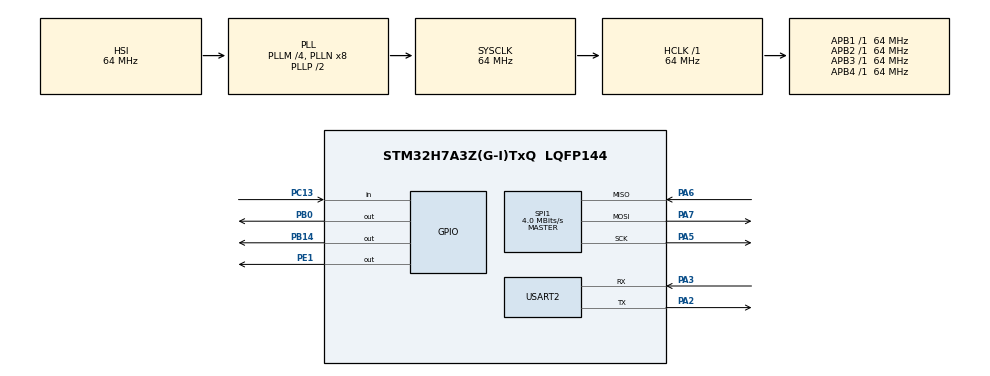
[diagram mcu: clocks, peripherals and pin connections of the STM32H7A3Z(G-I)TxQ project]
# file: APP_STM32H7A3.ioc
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CORTEX_M7.default_mode_Activation=1
Dma.Request0=SPI1_RX
Dma.Request1=SPI1_TX
Dma.SPI1_RX.0.Direction=DMA_PERIPH_TO_MEMORY
Dma.SPI1_RX.0.EventEnable=DISABLE
Dma.SPI1_RX.0.FIFOMode=DMA_FIFOMODE_DISABLE
Dma.SPI1_RX.0.Instance=DMA1_Stream0
Dma.SPI1_RX.0.MemDataAlignment=DMA_MDATAALIGN_BYTE
Dma.SPI1_RX.0.MemInc=DMA_MINC_ENABLE
Dma.SPI1_RX.0.Mode=DMA_NORMAL
Dma.SPI1_RX.0.PeriphDataAlignment=DMA_PDATAALIGN_BYTE
Dma.SPI1_RX.0.PeriphInc=DMA_PINC_DISABLE
Dma.SPI1_RX.0.Polarity=HAL_DMAMUX_REQ_GEN_RISING
Dma.SPI1_RX.0.Priority=DMA_PRIORITY_LOW
Dma.SPI1_RX.0.RequestNumber=1
Dma.SPI1_RX.0.SignalID=NONE
Dma.SPI1_RX.0.SyncEnable=DISABLE
Dma.SPI1_RX.0.SyncPolarity=HAL_DMAMUX_SYNC_NO_EVENT
Dma.SPI1_RX.0.SyncRequestNumber=1
Dma.SPI1_RX.0.SyncSignalID=NONE
Dma.SPI1_TX.1.Direction=DMA_MEMORY_TO_PERIPH
Dma.SPI1_TX.1.EventEnable=DISABLE
Dma.SPI1_TX.1.FIFOMode=DMA_FIFOMODE_DISABLE
Dma.SPI1_TX.1.Instance=DMA1_Stream1
Dma.SPI1_TX.1.MemDataAlignment=DMA_MDATAALIGN_BYTE
Dma.SPI1_TX.1.MemInc=DMA_MINC_ENABLE
Dma.SPI1_TX.1.Mode=DMA_NORMAL
Dma.SPI1_TX.1.PeriphDataAlignment=DMA_PDATAALIGN_BYTE
Dma.SPI1_TX.1.PeriphInc=DMA_PINC_DISABLE
Dma.SPI1_TX.1.Polarity=HAL_DMAMUX_REQ_GEN_RISING
Dma.SPI1_TX.1.Priority=DMA_PRIORITY_LOW
Dma.SPI1_TX.1.RequestNumber=1
Dma.SPI1_TX.1.SignalID=NONE
Dma.SPI1_TX.1.SyncEnable=DISABLE
Dma.SPI1_TX.1.SyncPolarity=HAL_DMAMUX_SYNC_NO_EVENT
Dma.SPI1_TX.1.SyncRequestNumber=1
Dma.SPI1_TX.1.SyncSignalID=NONE
Mcu.Family=STM32H7
Mcu.Name=STM32H7A3Z(G-I)TxQ
Mcu.Package=LQFP144
NUCLEO-H7A3ZI-Q.BUTTON=1
NUCLEO-H7A3ZI-Q.Bsp_Common_DEMO=true
NUCLEO-H7A3ZI-Q.LD1=true
NUCLEO-H7A3ZI-Q.LD2=true
NUCLEO-H7A3ZI-Q.LD3=true
NUCLEO-H7A3ZI-Q.VCP=true
NVIC.DMA1_Stream0_IRQn=true\:0\:0\:false\:false\:true\:false\:true\:true
NVIC.DMA1_Stream1_IRQn=true\:0\:0\:false\:false\:true\:false\:true\:true
NVIC.EXTI15_10_IRQn=true\:0\:0\:false\:false\:true\:false\:true\:true
NVIC.PriorityGroup=NVIC_PRIORITYGROUP_4
NVIC.SPI1_IRQn=true\:0\:0\:false\:false\:true\:true\:true\:true
NVIC.USART2_IRQn=true\:0\:0\:false\:false\:true\:true\:true\:true
PA2.Mode=Asynchronous
PA2.Signal=USART2_TX
PA3.Mode=Asynchronous
PA3.Signal=USART2_RX
PA5.Mode=Full_Duplex_Master
PA5.Signal=SPI1_SCK
PA6.Mode=Full_Duplex_Master
PA6.Signal=SPI1_MISO
PA7.Mode=Full_Duplex_Master
PA7.Signal=SPI1_MOSI
PB0.Signal=GPIO_Output
PB14.Signal=GPIO_Output
PC13.Signal=GPIO_Input
PC14-OSC32_IN.GPIO_Label=OSC32_IN
PC14-OSC32_IN.Mode=LSE-External-Oscillator
PC14-OSC32_IN.Signal=RCC_OSC32_IN
PC15-OSC32_OUT.GPIO_Label=OSC32_OUT
PC15-OSC32_OUT.Mode=LSE-External-Oscillator
PC15-OSC32_OUT.Signal=RCC_OSC32_OUT
PD8.Signal=USART3_TX
PD9.Signal=USART3_RX
PE1.Signal=GPIO_Output
PH0-OSC_IN.GPIO_Label=PH0-MCU
PH0-OSC_IN.Mode=HSE-External-Oscillator
PH0-OSC_IN.Signal=RCC_OSC_IN
PH1-OSC_OUT.GPIO_Label=PH1-MCU
PH1-OSC_OUT.Mode=HSE-External-Oscillator
PH1-OSC_OUT.Signal=RCC_OSC_OUT
ProjectManager.HeapSize=0x200
ProjectManager.StackSize=0x400
ProjectManager.TargetToolchain=STM32CubeIDE
RCC.ADCFreq_Value=129000000
RCC.APB1Freq_Value=64000000
RCC.APB2Freq_Value=64000000
RCC.APB3Freq_Value=64000000
RCC.APB4Freq_Value=64000000
RCC.CortexFreq_Value=64000000
RCC.DIVM1=4
RCC.DIVM3=1
RCC.DIVN1=8
RCC.DIVN3=24
RCC.DIVQ1=16
RCC.HCLKFreq_Value=64000000
RCC.HSE_VALUE=8000000
RCC.PLLFRACN=0
RCC.PWR_Regulator_Voltage_Scale=PWR_REGULATOR_VOLTAGE_SCALE0
RCC.SYSCLKFreq_VALUE=64000000
RCC.SYSCLKSource=RCC_SYSCLKSOURCE_PLLCLK
RCC.SupplySource=PWR_DIRECT_SMPS_SUPPLY
RCC.USBCLockSelection=RCC_USBCLKSOURCE_HSI48
RCC.USBFreq_Value=48000000
SPI1.CalculateBaudRate=4.0 MBits/s
SPI1.DataSize=SPI_DATASIZE_8BIT
SPI1.Direction=SPI_DIRECTION_2LINES
SPI1.Mode=SPI_MODE_MASTER
SPI1.VirtualType=VM_MASTER
USART2.VirtualMode-Asynchronous=VM_ASYNC
VP_MEMORYMAP_VS_MEMORYMAP.Mode=CurAppReg
VP_NUCLEO-H7A3ZI-Q_VS_BSP_COMMON.Mode=COMMON
board=NUCLEO-H7A3ZI-Q

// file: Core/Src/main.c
/* USER CODE BEGIN Header */
/**
  ******************************************************************************
  * @file           : main.c
  * @brief          : Main program body
  ******************************************************************************
  * @attention
  *
  * Copyright (c) 2025 STMicroelectronics.
  * All rights reserved.
  *
  * This software is licensed under terms that can be found in the LICENSE file
  * in the root directory of this software component.
  * If no LICENSE file comes with this software, it is provided AS-IS.
  *
  ******************************************************************************
  */
/* USER CODE END Header */
#include "main.h"

/* USER CODE BEGIN Includes */
#include "stdio.h"
#include "stm32h7xx.h"
#include <string.h>
#include <stdlib.h>
#include <stdint.h>
#include <inttypes.h>
/* USER CODE END Includes */

/* USER CODE BEGIN PD */

#define FLASH_APP2_ADDRESS 0x08140000 // APP2 256K flash in BANK1. Also start of new app's the header

#define META_DATA_ADDRESS 0x08100000
#define META_DATA_CRC_START_ADRESS 0x08100060 //first 96 byte is for file_name:file_size:optional_bytes:padding
#define META_DATA_IS_LOADED_ADDRESS 0x08101FF0 // 16:10 1000010

/* USER CODE END PD */

/* USER CODE BEGIN PM */

typedef void (*pFunction)(void);

/* USER CODE END PM */

COM_InitTypeDef BspCOMInit;
__IO uint32_t BspButtonState = BUTTON_RELEASED;

SPI_HandleTypeDef hspi1;
DMA_HandleTypeDef hdma_spi1_rx;
DMA_HandleTypeDef hdma_spi1_tx;

UART_HandleTypeDef huart2;

/* USER CODE BEGIN PV */

#define ACK 0x06
#define EOT 0x04
#define C 0x43
#define CAN 0x18
#define NAK 0x15
#define NUM_OF_NAK_BEFORE_ABORT 5

uint8_t RxData[1];

uint16_t Ymodem_data_block_counter = 0;
uint16_t Ymodem_info_block_counter = 0;
uint16_t Ymodem_name_counter = 0;
uint16_t Ymodem_size_counter = 0;
uint16_t Ymodem_optional_counter = 0;
uint16_t Ymodem_padding_counter = 0;
uint8_t Ymodem_NAK_counter = 0;

uint8_t file_name[100];
uint32_t file_size_val = 0;
uint16_t last_block_size_check_index_val = 0; // last data block's 3 bytes to be checked for end of the data :file size % 1024
uint8_t file_size[100];
uint8_t file_size_check[3];// size check for file_size-1: file_size: file_size+1
uint8_t optional_bytes[100];
uint8_t padding[100];

uint8_t received_block0[128]; // should be all zeros since the info is extracted
uint8_t received_block[1024];
uint8_t received_end_block[128];
uint8_t header_block[640];
uint8_t received_block_deneme[50][1024];
uint8_t received_block_deneme_index = 0;

uint8_t Ymodem_is_data_block_started = 0;
uint8_t ymodem_is_name_started = 0;
uint8_t ymodem_is_size_started = 0;
uint8_t ymodem_is_optional_bytes_started = 0;
uint8_t ymodem_is_padding_started = 0;
uint8_t ymodem_is_info_ended = 0;
volatile uint8_t ymodem_is_start_request = 0;
uint8_t ymodem_is_end_of_transmission = 0;
uint8_t ymodem_is_last_block = 0;
uint8_t Ymodem_is_abort = 0; // size error sets to 1 and crc_check function checks

//uint8_t is_jump_to_app2 = 0;

uint8_t CRC_H = 0;
uint8_t CRC_L = 0;
uint8_t SOH_STX = 0;
uint8_t Block_num = 0;
uint8_t Block_num_inverted = 0;
uint16_t Block_num_counter = 0;

uint8_t check_index = 0;
uint8_t check_values[512];
uint16_t check_value1;
uint16_t check_value2;

uint8_t IS_LOADED_BYTE[16] = {0,1,2,3,4,5,6,7,8,9,10,11,12,13,14,15};

/* USER CODE END PV */

void SystemClock_Config(void);
static void MPU_Config(void);
static void MX_GPIO_Init(void);
static void MX_DMA_Init(void);
static void MX_USART2_UART_Init(void);
static void MX_SPI1_Init(void);

/* USER CODE BEGIN 0 */

void go2App2(void)
{
	uint32_t JumpAdress;
	pFunction Jump_To_Application;  // function pointer
	printf("Jumping to App2	\r\n");
	/* Check if there is smt installed in the app Flash region*/
	if(((*(uint32_t*) FLASH_APP2_ADDRESS) & 0x2FFE0000) == 0x24100000){ // originally ==
		HAL_Delay(100);//checks the first code
		printf("APP2 START...	\r\n");

		// 1. Disable SysTick
		SysTick->CTRL = 0;
		SysTick->LOAD = 0;
		SysTick->VAL  = 0;

		// 2. Disable all interrupts (optional but recommended)
		__disable_irq();

		// 3. Clear all pending interrupts (especially SysTick)
		for (int i = 0; i < 8; i++) {
		    NVIC->ICER[i] = 0xFFFFFFFF;
		    NVIC->ICPR[i] = 0xFFFFFFFF;
		}

		//jump to the application
		JumpAdress = *(uint32_t *) (FLASH_APP2_ADDRESS + 4); // gets the applcation's reset handler adress
		Jump_To_Application = (pFunction) JumpAdress; // the adress function pointer becomes the adress of the reset
		/* Initialize the stack pointer of the application*/
		__set_MSP(*(uint32_t*)FLASH_APP2_ADDRESS);
		Jump_To_Application();
	}
	else{
		// no application is installed
		printf("No app2 found!	\r\n");

	}
}

void Erase_App2_Flash(void)
{
    HAL_FLASH_Unlock();

    FLASH_EraseInitTypeDef eraseInit;
    uint32_t SectorError;
    HAL_StatusTypeDef status;

    eraseInit.TypeErase    = FLASH_TYPEERASE_SECTORS; //h7a3 has sectors
    eraseInit.VoltageRange = 0;  // Adjusted according to Vdd, safe
    eraseInit.Sector       = FLASH_SECTOR_32; //
    eraseInit.NbSectors    = 32;
    eraseInit.Banks        = FLASH_BANK_2; //h7a3 has 2

    status = HAL_FLASHEx_Erase(&eraseInit, &SectorError);

    HAL_FLASH_Lock();

    if (status != HAL_OK) {
        // error handler might go there
        while (1);
    }

    printf("APP2 is erased!	\n\r");

    HAL_FLASH_Unlock();

    eraseInit.TypeErase    = FLASH_TYPEERASE_SECTORS; //h7a3 has sectors
    eraseInit.VoltageRange = 0;  // Adjusted according to Vdd, safe
    eraseInit.Sector       = FLASH_SECTOR_0; //erase metadata
    eraseInit.NbSectors    = 1;
    eraseInit.Banks        = FLASH_BANK_2; //h7a3 has 2

    status = HAL_FLASHEx_Erase(&eraseInit, &SectorError);

    HAL_FLASH_Lock();

    if (status != HAL_OK) {
        // error handler might go there
        while (1);
    }
    printf("Metadata is erased!	\n\r");
}

void Flash_Clear_Write_Errors_Bank2(void)
{
    FLASH->SR2 = FLASH_SR_WRPERR  |
                 FLASH_SR_PGSERR  |
                 FLASH_SR_STRBERR  |
                 FLASH_SR_INCERR  |
                 FLASH_SR_EOP;
}

void Flash_Clear_Read_Errors_Bank2(void)
{
    FLASH->SR2 = FLASH_SR_SNECCERR |
                 FLASH_SR_RDSERR   |
                 FLASH_SR_RDPERR  |
                 FLASH_SR_EOP;
}

HAL_StatusTypeDef Single_Write_Is_Loaded_MetaData(uint32_t address, const uint8_t* data){
	if (address % 16 != 0){ // check the adress alignment
		return HAL_ERROR;
	}
	if ((FLASH_CR_LOCK & FLASH->CR2)){ //check if the CR is unlocked
		FLASH->KEYR2 = 0x45670123; // magic numbers for unlocking
		FLASH->KEYR2 = 0xCDEF89AB; // magic numbers for unlocking

	}
	FLASH->CR2 |= FLASH_CR_PG; // enter programming mode

    __IO volatile uint64_t *dst = (__IO uint64_t *) address;

    uint64_t first_qword  = *((uint64_t*)&data[0]);
    uint64_t second_qword;
    memcpy(&second_qword, data + 8, sizeof(second_qword)); // more robust

    //printf("%016" PRIX64 "\n", second_qword);
    //printf("%016" PRIX64 "\n", first_qword);

    dst[0] = first_qword;
    __DSB();
    //printf("Writing to flash: Address = 0x%08lX, Value = 0x%016llX\r\n", (uint32_t)&dst[0], first_qword);
    dst[1] = second_qword;
    __DSB();
    //printf("Writing to flash: Address = 0x%08lX, Value = 0x%016llX \r\n", (uint32_t)&dst[1], second_qword);

    while (FLASH->SR2 & FLASH_SR_QW) {
        // wait
    }

    // Wait for BSY flag to clear (programming is completed)
    while (FLASH->SR2 & FLASH_SR_BSY) {
        // wait
    }

    FLASH->CR2 &= ~FLASH_CR_PG;

    if(FLASH->SR2 & FLASH_SR_WRPERR){
    	printf("ERROR: An illegal erase/program operation is attempted,	WRPERR");
    	return HAL_ERROR;
    }
    else if(FLASH->SR2 & FLASH_SR_PGSERR){
    	printf("ERROR: Programming sequence is incorrect,	PGSERR");
    	return HAL_ERROR;
    }
    else if(FLASH->SR2 & FLASH_SR_STRBERR){
    	printf("ERROR:  Software has written several times to the same byte,	STRBERR");
    	return HAL_ERROR;
    }
    else if(FLASH->SR2 & FLASH_SR_INCERR){
    	printf("ERROR:  A programming inconsistency is detected,	INCERR");
    	return HAL_ERROR;
    }
    FLASH->CR2 |= FLASH_CR_LOCK; //lock flash
    return HAL_OK;
}

HAL_StatusTypeDef Single_Write_App2_Flash(uint32_t address, const uint8_t* data){
	if (address % 16 != 0){ // check the adress alignment
		return HAL_ERROR;
	}
	if ((FLASH_CR_LOCK & FLASH->CR2)){ //check if the CR is unlocked
		FLASH->KEYR2 = 0x45670123; // magic numbers for unlocking
		FLASH->KEYR2 = 0xCDEF89AB; // magic numbers for unlocking

	}
	FLASH->CR2 |= FLASH_CR_PG; // enter programming mode

    __IO volatile uint64_t *dst = (__IO uint64_t *) address;

    uint64_t first_qword  = *((uint64_t*)&data[0]);
    uint64_t second_qword;
    memcpy(&second_qword, data + 8, sizeof(second_qword)); // more robust

    //printf("%016" PRIX64 "\n", second_qword);
    //printf("%016" PRIX64 "\n", first_qword);

    dst[0] = first_qword;
    __DSB();
    //printf("Writing to flash: Address = 0x%08lX, Value = 0x%016llX\r\n", (uint32_t)&dst[0], first_qword);
    dst[1] = second_qword;
    __DSB();
    //printf("Writing to flash: Address = 0x%08lX, Value = 0x%016llX \r\n", (uint32_t)&dst[1], second_qword);

    while (FLASH->SR2 & FLASH_SR_QW) {
        // wait
    }

    // Wait for BSY flag to clear (programming is completed)
    while (FLASH->SR2 & FLASH_SR_BSY) {
        // wait
    }

    FLASH->CR2 &= ~FLASH_CR_PG;

    if(FLASH->SR2 & FLASH_SR_WRPERR){
    	printf("ERROR: An illegal erase/program operation is attempted,	WRPERR");
    	return HAL_ERROR;
    }
    else if(FLASH->SR2 & FLASH_SR_PGSERR){
    	printf("ERROR: Programming sequence is incorrect,	PGSERR");
    	return HAL_ERROR;
    }
    else if(FLASH->SR2 & FLASH_SR_STRBERR){
    	printf("ERROR:  Software has written several times to the same byte,	STRBERR");
    	return HAL_ERROR;
    }
    else if(FLASH->SR2 & FLASH_SR_INCERR){
    	printf("ERROR:  A programming inconsistency is detected,	INCERR");
    	return HAL_ERROR;
    }
    FLASH->CR2 |= FLASH_CR_LOCK; //lock flash
    return HAL_OK;
}

HAL_StatusTypeDef Multiple_Write_App2_Flash(uint32_t address, const uint8_t* data16, uint16_t block_size){

	Flash_Clear_Write_Errors_Bank2(); // clear all the error flags
	for(uint32_t i = 0; i < block_size; i += 16){
		HAL_StatusTypeDef res = Single_Write_App2_Flash((address + i), &data16[i]);
	    if (res != HAL_OK) {
	    	FLASH->CR2 |= FLASH_CR_LOCK;
	        return HAL_ERROR;
	    }
	}

	return HAL_OK;
	//printf("Block writing has finished	\r\n");
}

void create_and_write_header(uint32_t address, uint8_t* data, uint8_t CRC_H, uint8_t CRC_L){
	if(ymodem_is_end_of_transmission){
		return;
	}
	else if(Block_num_counter != 0){ 					//copy CRC_H and CRC_L value of each data byte 0x08100060 to 0x08100260: CRC, 0x08100260: to :0x08100280 padding
		header_block[94 + Block_num_counter*2] = CRC_H;
		header_block[95 + Block_num_counter*2] = CRC_L;
		if(ymodem_is_last_block){
			Multiple_Write_App2_Flash(address, header_block, 640);
		}
	}
	else{ 									// when first block received copy file_name, file_size, optional_bytes and padding
		memcpy(header_block, received_block0, 96);
	}
}

void Ymodem_send(uint8_t signal){
	uint8_t TxData[1] = {signal};
	HAL_UART_Transmit(&huart2, TxData, sizeof(TxData), 20);
	HAL_UARTEx_ReceiveToIdle_IT(&huart2, RxData, 1);
}

void Ymodem_reset(){
	Ymodem_is_data_block_started = 0;
	Block_num_counter = 0;
	ymodem_is_end_of_transmission = 0;
	ymodem_is_info_ended = 0;
	ymodem_is_last_block = 0;
	BSP_LED_Off(LED_GREEN);
	BSP_LED_Off(LED_YELLOW);
}

void Ymodem_ABORT(){
	Ymodem_send(CAN);
	Ymodem_send(CAN); //ABORT
	Ymodem_NAK_counter = 0;
	Ymodem_is_data_block_started = 0;
	Block_num_counter = 0;
	ymodem_is_end_of_transmission = 0;
	ymodem_is_info_ended = 0;
	ymodem_is_last_block = 0;
	ymodem_is_name_started = 0;
	ymodem_is_size_started = 0;
	ymodem_is_optional_bytes_started = 0;
	ymodem_is_padding_started = 0;
	ymodem_is_start_request = 0;
	BSP_LED_Off(LED_GREEN);
	BSP_LED_Off(LED_YELLOW);
	printf("ABORTING!	\r\n");
}

void Ymodem_file_size_check(){ //file_size_check == {1,1,1} means data is valid
	if(abs(last_block_size_check_index_val - Ymodem_data_block_counter + 3) <= 1){
		if(file_size_check[1]){ //
			if(RxData[0] != 0x1a){ // 1a is for padding
				file_size_check[2] = 1;
			}
		}
		else if(file_size_check[0]){
			if(RxData[0] != 0x1a){ // 1a is for padding
				file_size_check[1] = 1;
			}
		}
		else{
			if(RxData[0] != 0x1a){ // 1a is for padding
				file_size_check[0] = 1;
			}
		}
	}
}

void Ymodem_file_size_last_check(){
	if(file_size_check[0] & file_size_check[1] & !file_size_check[2] ){	 // old: if( (CRC_L | (CRC_H << 8)) == CRC16Compute(received_block, 1024, 0x0000, 0x1021))
		Ymodem_is_abort = 0;
	}
	else{
		Ymodem_is_abort = 1;
	}
}

uint16_t CRC16Compute(uint8_t *data, uint32_t length, uint16_t init_value, uint16_t key){
	uint16_t crc = init_value;
	for(uint32_t i = 0; i < length; i++){
		crc ^= (uint16_t) (data[i] << 8);// initial shift
		for(uint8_t j = 0; j < 8; j++){
			if(crc & 0x8000){//most significant is 1
				crc = (uint16_t) (crc << 1) ^ key; //xored with the key
			}
			else{
				crc = (uint16_t) crc << 1; // shifted once
			}
		}
	}
	return crc;
}

void Ymodem_check_CRC(uint8_t *data, uint32_t length){
	if( ((CRC_L | (CRC_H << 8)) ==   CRC16Compute(data,  length, 0x0000, 0x1021)) & (!Ymodem_is_abort)){	 // old: if( (CRC_L | (CRC_H << 8)) == CRC16Compute(received_block, 1024, 0x0000, 0x1021))
		create_and_write_header(META_DATA_ADDRESS, header_block, CRC_H, CRC_L);
		Ymodem_send(ACK);
		Ymodem_send(C);

	}
	else if((Ymodem_NAK_counter < NUM_OF_NAK_BEFORE_ABORT) & (!Ymodem_is_abort)){
		Ymodem_send(NAK);
		Ymodem_NAK_counter++;
		printf("CRC FAILED!");
	}
	else{
		Ymodem_ABORT();
	}
}

void Ymodem_check_CRC_and_write(uint8_t *data, uint32_t length){
	if( ((CRC_L | (CRC_H << 8)) ==   CRC16Compute(data,  length, 0x0000, 0x1021)) & (!Ymodem_is_abort)){	 // old: if( (CRC_L | (CRC_H << 8)) == CRC16Compute(received_block, 1024, 0x0000, 0x1021))
		Multiple_Write_App2_Flash(FLASH_APP2_ADDRESS + 1024 * (Block_num_counter - 1), data, length);
		create_and_write_header(META_DATA_ADDRESS, header_block, CRC_H, CRC_L);
		Block_num_counter++;
		Ymodem_send(ACK);
		Ymodem_send(C);

	}
	else if((Ymodem_NAK_counter < NUM_OF_NAK_BEFORE_ABORT) & (!Ymodem_is_abort)){
		Ymodem_send(NAK);
		Ymodem_NAK_counter++;
		printf("CRC FAILED!");
	}
	else{
		Ymodem_ABORT();
	}
}

void receive_first_block(){
	received_block0[Ymodem_data_block_counter] = RxData[0];
	if((Ymodem_is_data_block_started == 0) & (ymodem_is_info_ended == 0)){ // check
		switch (Ymodem_info_block_counter){
		case 0:
			ymodem_is_start_request = 0;
			BSP_LED_Off(LED_GREEN);
			SOH_STX = RxData[0];
			Ymodem_info_block_counter++;
			break;

		case 1:
			Block_num = RxData[0];
			Ymodem_info_block_counter++;
			break;

		case 2:
			Block_num_inverted = RxData[0];
			Ymodem_info_block_counter++;
			ymodem_is_name_started = 1;
			//check consistency: block num and block num inverted
			break;

		case 3:
			Ymodem_data_block_counter++;
			if((ymodem_is_name_started == 1) & (RxData[0] != 0x00)){
				file_name[Ymodem_name_counter] = RxData[0];
				Ymodem_name_counter++;

			}
			else{
				ymodem_is_name_started = 0;
				ymodem_is_size_started = 1;
				Ymodem_name_counter = 0;
				Ymodem_info_block_counter++;

			}
			break;
		case 4:
			Ymodem_data_block_counter++;
			if((ymodem_is_size_started == 1) & (RxData[0] != 0x20)){
				file_size_val = file_size_val * 10 + (RxData[0] - 48);
				file_size[Ymodem_size_counter] = RxData[0];
				Ymodem_size_counter++;

			}
			else{
				last_block_size_check_index_val = file_size_val % 1024;
				ymodem_is_size_started = 0;
				Ymodem_size_counter = 0;
				Ymodem_info_block_counter++;
				ymodem_is_optional_bytes_started = 1;

			}
			break;
		case 5:
			Ymodem_data_block_counter++;
			if((ymodem_is_optional_bytes_started == 1) & (RxData[0] != 0x20)){
				optional_bytes[Ymodem_optional_counter] = RxData[0];
				Ymodem_optional_counter++;
			}
			else{

				ymodem_is_optional_bytes_started = 0;
				Ymodem_optional_counter = 0;
				Ymodem_info_block_counter++;
				ymodem_is_padding_started = 1;
			}
			break;
		case 6:
			Ymodem_data_block_counter++;
			if((ymodem_is_padding_started == 1) & (RxData[0] != 0x00)){
				padding[Ymodem_padding_counter] = RxData[0];
				Ymodem_padding_counter++;
			}
			else{
				ymodem_is_padding_started = 0;
				Ymodem_padding_counter = 0;
				Ymodem_info_block_counter = 0;
				ymodem_is_info_ended = 1;

			}
			break;
		default: // write rest of info block
			break;
		}

	}
	else if(Ymodem_data_block_counter <= 127){
		Ymodem_data_block_counter++;
	}
	else if(Ymodem_data_block_counter == 128){
		CRC_H = RxData[0];
		Ymodem_data_block_counter++;
	}
	else if(Ymodem_data_block_counter == 129){
		CRC_L = RxData[0];

		Ymodem_check_CRC(received_block0, sizeof(received_block0)); // check

		Ymodem_data_block_counter = 0;
		Block_num_counter++;
		Ymodem_is_data_block_started = 1;

		/*
		check_val[0] = (CRC_L | (CRC_H << 8));
		check_val[1] = CRC16Compute(received_block0, 128, 0x0000, 0x1021);
		check_val[2] = ( (CRC_L | (CRC_H << 8)) == CRC16Compute(received_block0, 128, 0x0000, 0x1021));
		check_val[3] = CRC_H;
		check_val[4] = CRC_L;
		//check crc there
		index1++;
		*/
	}
	else{
	}

}

void receive_data_block(){ // reduced to one function
	if(Ymodem_data_block_counter == 0){
		if(RxData[0] == EOT){
			ymodem_is_end_of_transmission = 1;
			Ymodem_send(ACK);
			Ymodem_send(C);
		}
		else
		{
			SOH_STX = RxData[0];
		}
		Ymodem_data_block_counter++;
		return;
	}
	if(ymodem_is_end_of_transmission){
		if(Ymodem_data_block_counter == 1){
			SOH_STX = RxData[0];
			Ymodem_data_block_counter++;
		}
		else if(Ymodem_data_block_counter == 2){
			Block_num = RxData[0];
			Ymodem_data_block_counter++;
		}
		else if(Ymodem_data_block_counter == 3){
			Block_num_inverted = RxData[0];
			Ymodem_data_block_counter++;
		}
		else if(Ymodem_data_block_counter < 132){
			received_end_block[Ymodem_data_block_counter - 4] = RxData[0];
			Ymodem_data_block_counter++;
		}
		else if(Ymodem_data_block_counter == 132){
			CRC_H = RxData[0];
			Ymodem_data_block_counter++;
		}
		else if(Ymodem_data_block_counter == 133){
			CRC_L = RxData[0];
			Ymodem_data_block_counter = 0;
			Ymodem_check_CRC(received_end_block, sizeof(received_end_block));
			Ymodem_reset();
			Single_Write_Is_Loaded_MetaData(META_DATA_IS_LOADED_ADDRESS, IS_LOADED_BYTE);
//			Multiple_Read_App2_Flash(FLASH_APP2_ADDRESS , data_read, sizeof(data_read));
//			is_jump_to_app2 = 1;

		}
		else{

		}
	}
	else{
		if(Ymodem_data_block_counter == 1){
			if(Block_num == (file_size_val / 1024 )){
				ymodem_is_last_block = 1;
			}
			Block_num = RxData[0];
			Ymodem_data_block_counter++;
		}
		else if(Ymodem_data_block_counter == 2){
			Block_num_inverted = RxData[0];
			Ymodem_data_block_counter++;
		}
		else if(Ymodem_data_block_counter < 1027){
			received_block[Ymodem_data_block_counter - 3] = RxData[0];
			Ymodem_data_block_counter++;
			if(ymodem_is_last_block){
				Ymodem_file_size_check();
			}
		}
		else if(Ymodem_data_block_counter == 1027){
			CRC_H = RxData[0];
			Ymodem_data_block_counter++;
		}
		else if(Ymodem_data_block_counter == 1028){
			CRC_L = RxData[0];
			Ymodem_data_block_counter = 0;
			// check crc
			if(ymodem_is_last_block){ // check size if last data block
				Ymodem_file_size_last_check();
			}
			Ymodem_check_CRC_and_write(received_block, 1024);

			/*
			for(int k = 0; k<1024; k++){
				received_block_deneme[received_block_deneme_index][k] = received_block[k];

			}
			received_block_deneme_index++;

			*/
		}
		else{

		}
	}
}

/* USER CODE END 0 */

int main(void)
{

  /* MPU Configuration--------------------------------------------------------*/
  MPU_Config();

  /* MCU Configuration--------------------------------------------------------*/

  /* Reset of all peripherals, Initializes the Flash interface and the Systick. */
  HAL_Init();

  /* Configure the system clock */
  SystemClock_Config();

  /* Initialize all configured peripherals */
  MX_GPIO_Init();
  MX_DMA_Init();
  MX_USART2_UART_Init();
  MX_SPI1_Init();
  /* USER CODE BEGIN 2 */
  SCB->VTOR = 0x08040000;// offset for SysTick
  __enable_irq();
  HAL_UARTEx_ReceiveToIdle_IT(&huart2, RxData, 1);
  /* USER CODE END 2 */

  /* Initialize leds */
  BSP_LED_Init(LED_GREEN);
  BSP_LED_Init(LED_YELLOW);
  BSP_LED_Init(LED_RED);

  /* Initialize USER push-button, will be used to trigger an interrupt each time it's pressed.*/
  BSP_PB_Init(BUTTON_USER, BUTTON_MODE_EXTI);

  /* Initialize COM1 port (115200, 8 bits (7-bit data + 1 stop bit), no parity */
  BspCOMInit.BaudRate   = 115200;
  BspCOMInit.WordLength = COM_WORDLENGTH_8B;
  BspCOMInit.StopBits   = COM_STOPBITS_1;
  BspCOMInit.Parity     = COM_PARITY_NONE;
  BspCOMInit.HwFlowCtl  = COM_HWCONTROL_NONE;
  if (BSP_COM_Init(COM1, &BspCOMInit) != BSP_ERROR_NONE)
  {
    Error_Handler();
  }

  /* USER CODE BEGIN BSP */

  /* -- Sample board code to send message over COM1 port ---- */
  printf("Welcome to APP !\n\r");

  /* -- Sample board code to switch on leds ---- */

  /* USER CODE END BSP */

  /* Infinite loop */
  /* USER CODE BEGIN WHILE */
  while (1)
  {

	/* -- Sample board code for User push-button in interrupt mode ---- */
    if (BspButtonState == BUTTON_PRESSED)
    {
    	//go2App2();
    	Erase_App2_Flash();
      /* Update button state */
    	ymodem_is_start_request ^= 1; // xor to toggle between 0x01, 0x00
    	BSP_LED_Toggle(LED_GREEN); //Ready for receiving

    	BspButtonState = BUTTON_RELEASED;
      }
    HAL_Delay(100);
    if(ymodem_is_start_request){

    	Ymodem_send(C);
      }
      /* ..... Perform your action ..... */
    HAL_Delay(1000);
    printf("Old App is running!	\r\n");

    /* USER CODE END WHILE */

  }
}

void SystemClock_Config(void)
{
  RCC_OscInitTypeDef RCC_OscInitStruct = {0};
  RCC_ClkInitTypeDef RCC_ClkInitStruct = {0};

  /*AXI clock gating */
  RCC->CKGAENR = 0xE003FFFF;

  /** Supply configuration update enable
  */
  HAL_PWREx_ConfigSupply(PWR_DIRECT_SMPS_SUPPLY);

  /** Configure the main internal regulator output voltage
  */
  __HAL_PWR_VOLTAGESCALING_CONFIG(PWR_REGULATOR_VOLTAGE_SCALE0);

  while(!__HAL_PWR_GET_FLAG(PWR_FLAG_VOSRDY)) {}

  /** Initializes the RCC Oscillators according to the specified parameters
  * in the RCC_OscInitTypeDef structure.
  */
  RCC_OscInitStruct.OscillatorType = RCC_OSCILLATORTYPE_HSI;
  RCC_OscInitStruct.HSIState = RCC_HSI_DIV1;
  RCC_OscInitStruct.HSICalibrationValue = 64;
  RCC_OscInitStruct.PLL.PLLState = RCC_PLL_ON;
  RCC_OscInitStruct.PLL.PLLSource = RCC_PLLSOURCE_HSI;
  RCC_OscInitStruct.PLL.PLLM = 4;
  RCC_OscInitStruct.PLL.PLLN = 8;
  RCC_OscInitStruct.PLL.PLLP = 2;
  RCC_OscInitStruct.PLL.PLLQ = 16;
  RCC_OscInitStruct.PLL.PLLR = 2;
  RCC_OscInitStruct.PLL.PLLRGE = RCC_PLL1VCIRANGE_3;
  RCC_OscInitStruct.PLL.PLLVCOSEL = RCC_PLL1VCOWIDE;
  RCC_OscInitStruct.PLL.PLLFRACN = 0;
  if (HAL_RCC_OscConfig(&RCC_OscInitStruct) != HAL_OK)
  {
    Error_Handler();
  }

  /** Initializes the CPU, AHB and APB buses clocks
  */
  RCC_ClkInitStruct.ClockType = RCC_CLOCKTYPE_HCLK|RCC_CLOCKTYPE_SYSCLK
                              |RCC_CLOCKTYPE_PCLK1|RCC_CLOCKTYPE_PCLK2
                              |RCC_CLOCKTYPE_D3PCLK1|RCC_CLOCKTYPE_D1PCLK1;
  RCC_ClkInitStruct.SYSCLKSource = RCC_SYSCLKSOURCE_PLLCLK;
  RCC_ClkInitStruct.SYSCLKDivider = RCC_SYSCLK_DIV1;
  RCC_ClkInitStruct.AHBCLKDivider = RCC_HCLK_DIV1;
  RCC_ClkInitStruct.APB3CLKDivider = RCC_APB3_DIV1;
  RCC_ClkInitStruct.APB1CLKDivider = RCC_APB1_DIV1;
  RCC_ClkInitStruct.APB2CLKDivider = RCC_APB2_DIV1;
  RCC_ClkInitStruct.APB4CLKDivider = RCC_APB4_DIV1;

  if (HAL_RCC_ClockConfig(&RCC_ClkInitStruct, FLASH_LATENCY_1) != HAL_OK)
  {
    Error_Handler();
  }
}

static void MX_SPI1_Init(void)
{

  /* SPI1 parameter configuration*/
  hspi1.Instance = SPI1;
  hspi1.Init.Mode = SPI_MODE_MASTER;
  hspi1.Init.Direction = SPI_DIRECTION_2LINES;
  hspi1.Init.DataSize = SPI_DATASIZE_8BIT;
  hspi1.Init.CLKPolarity = SPI_POLARITY_LOW;
  hspi1.Init.CLKPhase = SPI_PHASE_1EDGE;
  hspi1.Init.NSS = SPI_NSS_SOFT;
  hspi1.Init.BaudRatePrescaler = SPI_BAUDRATEPRESCALER_2;
  hspi1.Init.FirstBit = SPI_FIRSTBIT_MSB;
  hspi1.Init.TIMode = SPI_TIMODE_DISABLE;
  hspi1.Init.CRCCalculation = SPI_CRCCALCULATION_DISABLE;
  hspi1.Init.CRCPolynomial = 0x0;
  hspi1.Init.NSSPMode = SPI_NSS_PULSE_ENABLE;
  hspi1.Init.NSSPolarity = SPI_NSS_POLARITY_LOW;
  hspi1.Init.FifoThreshold = SPI_FIFO_THRESHOLD_01DATA;
  hspi1.Init.TxCRCInitializationPattern = SPI_CRC_INITIALIZATION_ALL_ZERO_PATTERN;
  hspi1.Init.RxCRCInitializationPattern = SPI_CRC_INITIALIZATION_ALL_ZERO_PATTERN;
  hspi1.Init.MasterSSIdleness = SPI_MASTER_SS_IDLENESS_00CYCLE;
  hspi1.Init.MasterInterDataIdleness = SPI_MASTER_INTERDATA_IDLENESS_00CYCLE;
  hspi1.Init.MasterReceiverAutoSusp = SPI_MASTER_RX_AUTOSUSP_DISABLE;
  hspi1.Init.MasterKeepIOState = SPI_MASTER_KEEP_IO_STATE_DISABLE;
  hspi1.Init.IOSwap = SPI_IO_SWAP_DISABLE;
  if (HAL_SPI_Init(&hspi1) != HAL_OK)
  {
    Error_Handler();
  }

}

static void MX_USART2_UART_Init(void)
{

  huart2.Instance = USART2;
  huart2.Init.BaudRate = 115200;
  huart2.Init.WordLength = UART_WORDLENGTH_8B;
  huart2.Init.StopBits = UART_STOPBITS_1;
  huart2.Init.Parity = UART_PARITY_NONE;
  huart2.Init.Mode = UART_MODE_TX_RX;
  huart2.Init.HwFlowCtl = UART_HWCONTROL_NONE;
  huart2.Init.OverSampling = UART_OVERSAMPLING_16;
  huart2.Init.OneBitSampling = UART_ONE_BIT_SAMPLE_DISABLE;
  huart2.Init.ClockPrescaler = UART_PRESCALER_DIV1;
  huart2.AdvancedInit.AdvFeatureInit = UART_ADVFEATURE_NO_INIT;
  if (HAL_UART_Init(&huart2) != HAL_OK)
  {
    Error_Handler();
  }
  if (HAL_UARTEx_SetTxFifoThreshold(&huart2, UART_TXFIFO_THRESHOLD_1_8) != HAL_OK)
  {
    Error_Handler();
  }
  if (HAL_UARTEx_SetRxFifoThreshold(&huart2, UART_RXFIFO_THRESHOLD_1_8) != HAL_OK)
  {
    Error_Handler();
  }
  if (HAL_UARTEx_DisableFifoMode(&huart2) != HAL_OK)
  {
    Error_Handler();
  }

}

static void MX_DMA_Init(void)
{

  /* DMA controller clock enable */
  __HAL_RCC_DMA1_CLK_ENABLE();

  /* DMA interrupt init */
  /* DMA1_Stream0_IRQn interrupt configuration */
  HAL_NVIC_SetPriority(DMA1_Stream0_IRQn, 0, 0);
  HAL_NVIC_EnableIRQ(DMA1_Stream0_IRQn);
  /* DMA1_Stream1_IRQn interrupt configuration */
  HAL_NVIC_SetPriority(DMA1_Stream1_IRQn, 0, 0);
  HAL_NVIC_EnableIRQ(DMA1_Stream1_IRQn);

}

static void MX_GPIO_Init(void)
{

  /* GPIO Ports Clock Enable */
  __HAL_RCC_GPIOC_CLK_ENABLE();
  __HAL_RCC_GPIOH_CLK_ENABLE();
  __HAL_RCC_GPIOA_CLK_ENABLE();

}

/* USER CODE BEGIN 4 */

void HAL_UARTEx_RxEventCallback(UART_HandleTypeDef *huart, uint16_t Size)
{
	if(huart->Instance == USART2)
	{
		BSP_LED_Toggle(LED_YELLOW);
		switch(Block_num_counter){
		case 0:
			receive_first_block();
			break;
		default:
			receive_data_block();
			break;
		}
	HAL_UARTEx_ReceiveToIdle_IT(&huart2, RxData, 1);
	}
}

void HAL_UART_TxCpltCallback(UART_HandleTypeDef *huart) {
    if (huart->Instance == USART2) {
    	//HAL_GPIO_TogglePin(GPIOA, GPIO_PIN_5);
    }

}

/* USER CODE END 4 */

 /* MPU Configuration */

void MPU_Config(void)
{
  MPU_Region_InitTypeDef MPU_InitStruct = {0};

  /* Disables the MPU */
  HAL_MPU_Disable();

  /** Initializes and configures the Region and the memory to be protected
  */
  MPU_InitStruct.Enable = MPU_REGION_ENABLE;
  MPU_InitStruct.Number = MPU_REGION_NUMBER0;
  MPU_InitStruct.BaseAddress = 0x0;
  MPU_InitStruct.Size = MPU_REGION_SIZE_4GB;
  MPU_InitStruct.SubRegionDisable = 0x87;
  MPU_InitStruct.TypeExtField = MPU_TEX_LEVEL0;
  MPU_InitStruct.AccessPermission = MPU_REGION_NO_ACCESS;
  MPU_InitStruct.DisableExec = MPU_INSTRUCTION_ACCESS_DISABLE;
  MPU_InitStruct.IsShareable = MPU_ACCESS_SHAREABLE;
  MPU_InitStruct.IsCacheable = MPU_ACCESS_NOT_CACHEABLE;
  MPU_InitStruct.IsBufferable = MPU_ACCESS_NOT_BUFFERABLE;

  HAL_MPU_ConfigRegion(&MPU_InitStruct);
  /* Enables the MPU */
  HAL_MPU_Enable(MPU_PRIVILEGED_DEFAULT);

}

/**
  * @brief BSP Push Button callback
  * @param Button Specifies the pressed button
  * @retval None
  */
void BSP_PB_Callback(Button_TypeDef Button)
{
  if (Button == BUTTON_USER)
  {
    BspButtonState = BUTTON_PRESSED;
  }
}

void Error_Handler(void)
{
  __disable_irq();
  while (1)
  {
  }
}
